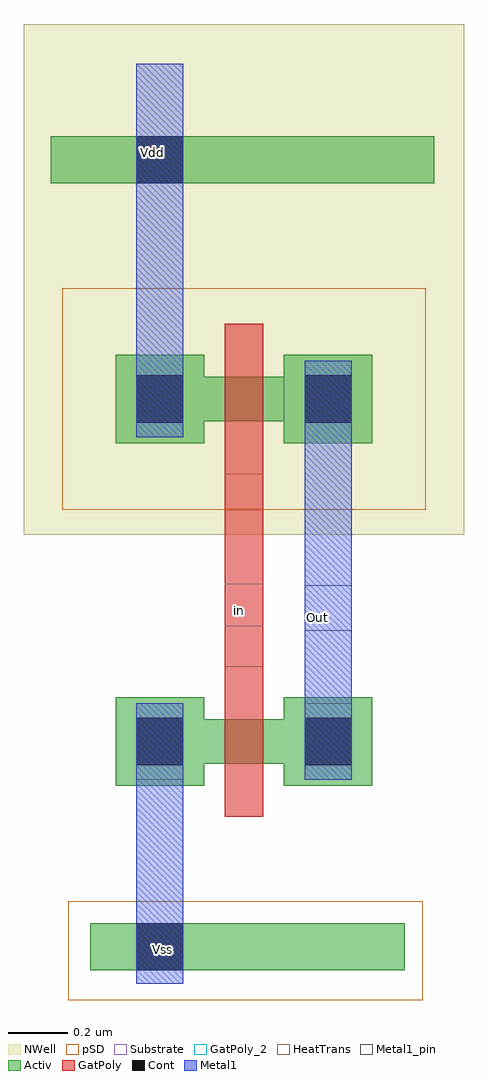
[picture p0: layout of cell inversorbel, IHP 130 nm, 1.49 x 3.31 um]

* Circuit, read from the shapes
.subckt inversorbel Out Vdd Vss in
XM1 Out in Vss Vss sg13_lv_nmos w=0.15u l=0.13u
XM2 Out in Vdd Vdd sg13_lv_pmos w=0.15u l=0.13u
.ends

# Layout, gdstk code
import gdstk
lib = gdstk.Library(unit=1e-6, precision=5e-09)
def R(c, l, rs):  # rectangles x0, y0, x1, y1
    for r in rs: c.add(gdstk.rectangle(r[:2], r[2:], *l))
Activ = (1, 0)
GatPoly = (5, 0)
GatPoly_2 = (5, 2)
Cont = (6, 0)
Metal1 = (8, 0)
Metal1_pin = (8, 2)
pSD = (14, 0)
NWell = (31, 0)
Substrate = (40, 0)
HeatTrans = (51, 0)

nmos = lib.new_cell('nmos')
R(nmos, Activ, [(0,0,0.3,0.3), (0.57,0,0.87,0.3), (0,0.075,0.87,0.225)])
R(nmos, GatPoly, [(0.37,-0.105,0.5,0.405)])
R(nmos, GatPoly_2, [(0.37,-0.105,0.5,0.405)])
R(nmos, Cont, [(0.07,0.07,0.23,0.23), (0.64,0.07,0.8,0.23)])
R(nmos, Metal1, [(0.07,0.02,0.23,0.28), (0.64,0.02,0.8,0.28)])
R(nmos, Metal1_pin, [(0.07,0.02,0.23,0.28), (0.64,0.02,0.8,0.28)])
R(nmos, HeatTrans, [(0.37,-0.105,0.5,0.405)])
nmos.add(gdstk.Label('nmos', (0.435,0.15), layer=63, texttype=0))
nmos.add(gdstk.Label('nmos', (0.435,0.15), layer=51, texttype=0))

pmos = lib.new_cell('pmos')
R(pmos, Activ, [(0,0,0.3,0.3), (0.57,0,0.87,0.3), (0,0.075,0.87,0.225)])
R(pmos, GatPoly, [(0.37,-0.105,0.5,0.405), (0.37,-0.105,0.5,0.405)])
R(pmos, Cont, [(0.07,0.07,0.23,0.23), (0.64,0.07,0.8,0.23)])
R(pmos, Metal1, [(0.07,0.02,0.23,0.28), (0.07,0.02,0.23,0.28), (0.64,0.02,0.8,0.28), (0.64,0.02,0.8,0.28)])
R(pmos, pSD, [(-0.18,-0.225,1.05,0.525)])
R(pmos, NWell, [(-0.31,-0.31,1.18,0.61)])
R(pmos, Substrate, [(0.57,0,0.87,0.3)])
R(pmos, HeatTrans, [(0.37,-0.105,0.5,0.405)])
pmos.add(gdstk.Label('pmos', (0.435,0.15), layer=63, texttype=0))
pmos.add(gdstk.Label('pmos', (0.435,0.15), layer=51, texttype=0))

inversorbel = lib.new_cell('inversorbel')
R(inversorbel, Activ, [(0.225,0.1,1.29,0.26), (0.09,2.765,1.39,2.925)])
R(inversorbel, GatPoly, [(0.68,1.025,0.81,1.865)])
R(inversorbel, GatPoly_2, [(0.68,1.265,0.81,1.41)])
R(inversorbel, Cont, [(0.38,0.1,0.54,0.26), (0.38,2.765,0.54,2.925)])
R(inversorbel, Metal1, [(0.38,0.055,0.54,0.875), (0.95,0.875,1.11,2.07), (0.38,2.035,0.54,3.17)])
R(inversorbel, Metal1_pin, [(0.38,0.1,0.54,0.26), (0.95,1.25,1.11,1.405), (0.38,2.765,0.54,2.925)])
R(inversorbel, pSD, [(0.15,0,1.35,0.335)])
R(inversorbel, NWell, [(0,2.495,1.49,3.305)])
inversorbel.add(gdstk.Reference(nmos, (0.31,0.725)))
inversorbel.add(gdstk.Reference(pmos, (0.31,1.885)))
inversorbel.add(gdstk.Label('Out', (0.995,1.295), layer=8, texttype=2))
inversorbel.add(gdstk.Label('Vss', (0.47,0.17), layer=8, texttype=2))
inversorbel.add(gdstk.Label('Vdd', (0.435,2.87), layer=8, texttype=2))
inversorbel.add(gdstk.Label('in', (0.73,1.32), layer=5, texttype=2))

lib.write_gds('inversorbel.gds')
